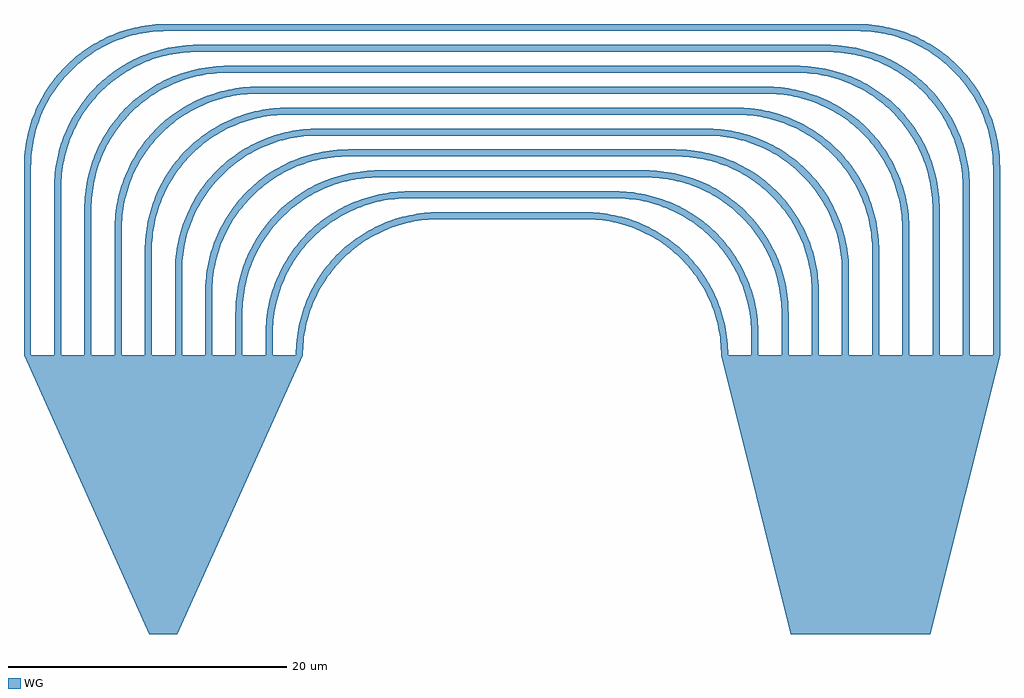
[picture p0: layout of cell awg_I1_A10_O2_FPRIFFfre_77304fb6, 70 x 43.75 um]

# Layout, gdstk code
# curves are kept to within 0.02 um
from math import pi, radians
import gdstk
lib = gdstk.Library(unit=1e-6, precision=1e-09)
def R(c, l, rs):  # rectangles x0, y0, x1, y1
    for r in rs: c.add(gdstk.rectangle(r[:2], r[2:], *l))
def P(c, l, *ps):  # polygons
    for p in ps: c.add(gdstk.Polygon(p, *l))
WG = (200, 0)

free_propagation_region_ = lib.new_cell('free_propagation_region_17623e49')
P(free_propagation_region_, WG, [(20,-10),(0,-1),(0,1),(20,10)])

c_free_propagation_region_ = lib.new_cell('free_propagation_region_7971bd06')
P(c_free_propagation_region_, WG, [(20,-10),(0,-5),(0,5),(20,10)])

bend_circular_r10_a90_n_ = lib.new_cell('bend_circular_R10_A90_N_a22da5dd')
P(bend_circular_r10_a90_n_, WG, [(0,-0.25),(0,0.25),(1.003,0.302),(1.994,0.456),(3.203,0.791),(4.133,1.169),(5.019,1.641),(5.649,2.053),(6.246,2.513),(6.805,3.018),(7.487,3.754),(7.947,4.351),(8.359,4.981),(8.721,5.641),(9.209,6.797),(9.489,7.761),(9.669,8.748),(9.75,10),(10.25,10),(10.196,8.946),(10.084,8.162),(9.842,7.135),(9.495,6.139),(9.169,5.417),(8.649,4.499),(8.037,3.639),(7.341,2.846),(6.566,2.129),(5.722,1.496),(4.817,0.953),(3.861,0.505),(2.865,0.158),(1.838,-0.084),(1.054,-0.196)])

straight_l13p5_n2_csstri = lib.new_cell('straight_L13p5_N2_CSstrip')
R(straight_l13p5_n2_csstri, WG, [(0,-0.25,13.5,0.25)])

straight_l49p5_n2_csstri = lib.new_cell('straight_L49p5_N2_CSstrip')
R(straight_l49p5_n2_csstri, WG, [(0,-0.25,49.5,0.25)])

straight_l12_n2_csstrip = lib.new_cell('straight_L12_N2_CSstrip')
R(straight_l12_n2_csstrip, WG, [(0,-0.25,12,0.25)])

straight_l45p1660000000_ = lib.new_cell('straight_L45p1660000000_4d1de147')
R(straight_l45p1660000000_, WG, [(0,-0.25,45.166,0.25)])

straight_l10p5_n2_csstri = lib.new_cell('straight_L10p5_N2_CSstrip')
R(straight_l10p5_n2_csstri, WG, [(0,-0.25,10.5,0.25)])

straight_l40p834_n2_csst = lib.new_cell('straight_L40p834_N2_CSstrip')
R(straight_l40p834_n2_csst, WG, [(0,-0.25,40.834,0.25)])

straight_l9_n2_csstrip = lib.new_cell('straight_L9_N2_CSstrip')
R(straight_l9_n2_csstrip, WG, [(0,-0.25,9,0.25)])

straight_l36p5_n2_csstri = lib.new_cell('straight_L36p5_N2_CSstrip')
R(straight_l36p5_n2_csstri, WG, [(0,-0.25,36.5,0.25)])

straight_l7p5_n2_csstrip = lib.new_cell('straight_L7p5_N2_CSstrip')
R(straight_l7p5_n2_csstrip, WG, [(0,-0.25,7.5,0.25)])

straight_l32p1660000000_ = lib.new_cell('straight_L32p1660000000_643231bb')
R(straight_l32p1660000000_, WG, [(0,-0.25,32.166,0.25)])

straight_l6_n2_csstrip = lib.new_cell('straight_L6_N2_CSstrip')
R(straight_l6_n2_csstrip, WG, [(0,-0.25,6,0.25)])

straight_l27p834_n2_csst = lib.new_cell('straight_L27p834_N2_CSstrip')
R(straight_l27p834_n2_csst, WG, [(0,-0.25,27.834,0.25)])

straight_l4p5_n2_csstrip = lib.new_cell('straight_L4p5_N2_CSstrip')
R(straight_l4p5_n2_csstrip, WG, [(0,-0.25,4.5,0.25)])

straight_l23p5_n2_csstri = lib.new_cell('straight_L23p5_N2_CSstrip')
R(straight_l23p5_n2_csstri, WG, [(0,-0.25,23.5,0.25)])

straight_l3_n2_csstrip = lib.new_cell('straight_L3_N2_CSstrip')
R(straight_l3_n2_csstrip, WG, [(0,-0.25,3,0.25)])

straight_l19p166_n2_csst = lib.new_cell('straight_L19p166_N2_CSstrip')
R(straight_l19p166_n2_csst, WG, [(0,-0.25,19.166,0.25)])

straight_l1p5_n2_csstrip = lib.new_cell('straight_L1p5_N2_CSstrip')
R(straight_l1p5_n2_csstrip, WG, [(0,-0.25,1.5,0.25)])

straight_l14p834_n2_csst = lib.new_cell('straight_L14p834_N2_CSstrip')
R(straight_l14p834_n2_csst, WG, [(0,-0.25,14.834,0.25)])

awg_i1_a10_o2_fprifffre_ = lib.new_cell('awg_I1_A10_O2_FPRIFFfre_77304fb6')
awg_i1_a10_o2_fprifffre_.add(gdstk.Reference(free_propagation_region_, (0,0), rotation=pi/2))
awg_i1_a10_o2_fprifffre_.add(gdstk.Reference(c_free_propagation_region_, (50,0), rotation=pi/2))
awg_i1_a10_o2_fprifffre_.add(gdstk.Reference(bend_circular_r10_a90_n_, (49.75,43.5), x_reflection=True))
awg_i1_a10_o2_fprifffre_.add(gdstk.Reference(straight_l13p5_n2_csstri, (59.75,33.5), rotation=3*pi/2))
awg_i1_a10_o2_fprifffre_.add(gdstk.Reference(bend_circular_r10_a90_n_, (-9.75,33.5), rotation=pi/2, x_reflection=True))
awg_i1_a10_o2_fprifffre_.add(gdstk.Reference(straight_l49p5_n2_csstri, (0.25,43.5)))
awg_i1_a10_o2_fprifffre_.add(gdstk.Reference(straight_l13p5_n2_csstri, (-9.75,33.5), rotation=3*pi/2))
awg_i1_a10_o2_fprifffre_.add(gdstk.Reference(bend_circular_r10_a90_n_, (47.583,42), x_reflection=True))
awg_i1_a10_o2_fprifffre_.add(gdstk.Reference(straight_l12_n2_csstrip, (57.583,32), rotation=3*pi/2))
awg_i1_a10_o2_fprifffre_.add(gdstk.Reference(bend_circular_r10_a90_n_, (-7.583,32), rotation=pi/2, x_reflection=True))
awg_i1_a10_o2_fprifffre_.add(gdstk.Reference(straight_l45p1660000000_, (2.417,42)))
awg_i1_a10_o2_fprifffre_.add(gdstk.Reference(straight_l12_n2_csstrip, (-7.583,32), rotation=3*pi/2))
awg_i1_a10_o2_fprifffre_.add(gdstk.Reference(bend_circular_r10_a90_n_, (45.417,40.5), x_reflection=True))
awg_i1_a10_o2_fprifffre_.add(gdstk.Reference(straight_l10p5_n2_csstri, (55.417,30.5), rotation=3*pi/2))
awg_i1_a10_o2_fprifffre_.add(gdstk.Reference(bend_circular_r10_a90_n_, (-5.417,30.5), rotation=pi/2, x_reflection=True))
awg_i1_a10_o2_fprifffre_.add(gdstk.Reference(straight_l40p834_n2_csst, (4.583,40.5)))
awg_i1_a10_o2_fprifffre_.add(gdstk.Reference(straight_l10p5_n2_csstri, (-5.417,30.5), rotation=3*pi/2))
awg_i1_a10_o2_fprifffre_.add(gdstk.Reference(bend_circular_r10_a90_n_, (43.25,39), x_reflection=True))
awg_i1_a10_o2_fprifffre_.add(gdstk.Reference(straight_l9_n2_csstrip, (53.25,29), rotation=3*pi/2))
awg_i1_a10_o2_fprifffre_.add(gdstk.Reference(bend_circular_r10_a90_n_, (-3.25,29), rotation=pi/2, x_reflection=True))
awg_i1_a10_o2_fprifffre_.add(gdstk.Reference(straight_l36p5_n2_csstri, (6.75,39)))
awg_i1_a10_o2_fprifffre_.add(gdstk.Reference(straight_l9_n2_csstrip, (-3.25,29), rotation=3*pi/2))
awg_i1_a10_o2_fprifffre_.add(gdstk.Reference(bend_circular_r10_a90_n_, (41.083,37.5), x_reflection=True))
awg_i1_a10_o2_fprifffre_.add(gdstk.Reference(straight_l7p5_n2_csstrip, (51.083,27.5), rotation=3*pi/2))
awg_i1_a10_o2_fprifffre_.add(gdstk.Reference(bend_circular_r10_a90_n_, (-1.083,27.5), rotation=pi/2, x_reflection=True))
awg_i1_a10_o2_fprifffre_.add(gdstk.Reference(straight_l32p1660000000_, (8.917,37.5)))
awg_i1_a10_o2_fprifffre_.add(gdstk.Reference(straight_l7p5_n2_csstrip, (-1.083,27.5), rotation=3*pi/2))
awg_i1_a10_o2_fprifffre_.add(gdstk.Reference(bend_circular_r10_a90_n_, (38.917,36), x_reflection=True))
awg_i1_a10_o2_fprifffre_.add(gdstk.Reference(straight_l6_n2_csstrip, (48.917,26), rotation=3*pi/2))
awg_i1_a10_o2_fprifffre_.add(gdstk.Reference(bend_circular_r10_a90_n_, (1.083,26), rotation=pi/2, x_reflection=True))
awg_i1_a10_o2_fprifffre_.add(gdstk.Reference(straight_l27p834_n2_csst, (11.083,36)))
awg_i1_a10_o2_fprifffre_.add(gdstk.Reference(straight_l6_n2_csstrip, (1.083,26), rotation=3*pi/2))
awg_i1_a10_o2_fprifffre_.add(gdstk.Reference(bend_circular_r10_a90_n_, (36.75,34.5), x_reflection=True))
awg_i1_a10_o2_fprifffre_.add(gdstk.Reference(straight_l4p5_n2_csstrip, (46.75,24.5), rotation=3*pi/2))
awg_i1_a10_o2_fprifffre_.add(gdstk.Reference(bend_circular_r10_a90_n_, (3.25,24.5), rotation=pi/2, x_reflection=True))
awg_i1_a10_o2_fprifffre_.add(gdstk.Reference(straight_l23p5_n2_csstri, (13.25,34.5)))
awg_i1_a10_o2_fprifffre_.add(gdstk.Reference(straight_l4p5_n2_csstrip, (3.25,24.5), rotation=3*pi/2))
awg_i1_a10_o2_fprifffre_.add(gdstk.Reference(bend_circular_r10_a90_n_, (34.583,33), x_reflection=True))
awg_i1_a10_o2_fprifffre_.add(gdstk.Reference(straight_l3_n2_csstrip, (44.583,23), rotation=3*pi/2))
awg_i1_a10_o2_fprifffre_.add(gdstk.Reference(bend_circular_r10_a90_n_, (5.417,23), rotation=pi/2, x_reflection=True))
awg_i1_a10_o2_fprifffre_.add(gdstk.Reference(straight_l19p166_n2_csst, (15.417,33)))
awg_i1_a10_o2_fprifffre_.add(gdstk.Reference(straight_l3_n2_csstrip, (5.417,23), rotation=3*pi/2))
awg_i1_a10_o2_fprifffre_.add(gdstk.Reference(bend_circular_r10_a90_n_, (32.417,31.5), x_reflection=True))
awg_i1_a10_o2_fprifffre_.add(gdstk.Reference(straight_l1p5_n2_csstrip, (42.417,21.5), rotation=3*pi/2))
awg_i1_a10_o2_fprifffre_.add(gdstk.Reference(bend_circular_r10_a90_n_, (7.583,21.5), rotation=pi/2, x_reflection=True))
awg_i1_a10_o2_fprifffre_.add(gdstk.Reference(straight_l14p834_n2_csst, (17.583,31.5)))
awg_i1_a10_o2_fprifffre_.add(gdstk.Reference(straight_l1p5_n2_csstrip, (7.583,21.5), rotation=3*pi/2))
awg_i1_a10_o2_fprifffre_.add(gdstk.Reference(bend_circular_r10_a90_n_, (30.25,30), x_reflection=True))
awg_i1_a10_o2_fprifffre_.add(gdstk.Reference(bend_circular_r10_a90_n_, (9.75,20), rotation=pi/2, x_reflection=True))
awg_i1_a10_o2_fprifffre_.add(gdstk.Reference(straight_l10p5_n2_csstri, (19.75,30)))

lib.write_gds('awg_I1_A10_O2_FPRIFFfre_77304fb6.gds')
